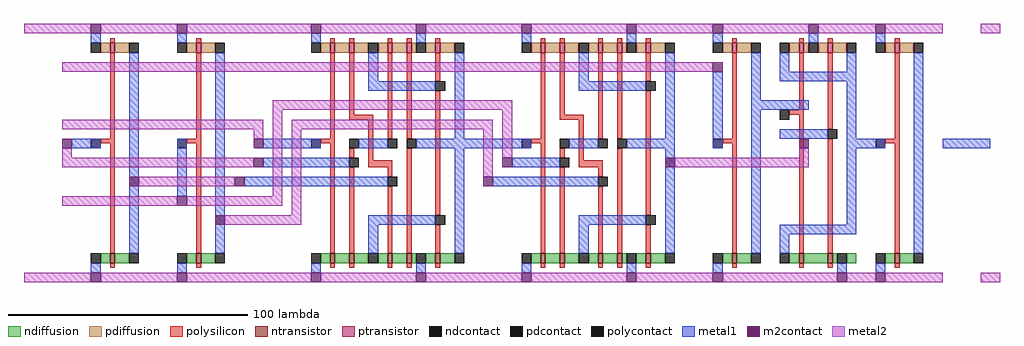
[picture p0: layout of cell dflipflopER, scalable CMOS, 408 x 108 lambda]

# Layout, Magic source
magic
tech scmos
<< metal1 >>
rect 176 56 188 60
rect 220 36 224 60
rect 256 56 280 60
rect 336 56 368 60
rect 444 56 448 88
rect 460 72 484 76
rect 256 48 276 52
rect 360 48 364 52
rect 248 40 292 44
rect 352 40 364 44
<< metal2 >>
rect 156 104 180 108
rect 234 104 268 108
rect 348 104 356 108
rect 556 104 564 108
rect 172 88 444 92
rect 260 72 360 76
rect 172 64 256 68
rect 252 60 256 64
rect 172 52 176 56
rect 172 48 252 52
rect 204 40 244 44
rect 260 36 264 72
rect 172 32 220 36
rect 224 32 264 36
rect 268 64 352 68
rect 268 28 272 64
rect 348 44 352 64
rect 356 52 360 72
rect 480 52 484 56
rect 428 48 484 52
rect 240 24 272 28
rect 156 0 180 4
rect 239 0 271 4
rect 348 0 356 4
rect 556 0 564 4
<< m2contact >>
rect 444 88 448 92
rect 172 56 176 60
rect 200 40 204 44
rect 252 56 256 60
rect 480 56 484 60
rect 252 48 256 52
rect 356 48 360 52
rect 424 48 428 52
rect 244 40 248 44
rect 348 40 352 44
rect 220 32 224 36
rect 236 24 240 28
use 2inAND  2inAND_3
transform 1 0 472 0 1 0
box 0 0 84 108
use inverter  inverter_0
transform 1 0 436 0 1 0
box 0 0 36 108
use inverter  inverter_1
transform 1 0 212 0 1 0
box 0 0 36 108
use inverter  inverter_2
transform 1 0 176 0 1 0
box 0 0 36 108
use latch  latch_0
transform 1 0 268 0 1 0
box 0 0 80 108
use latch  latch_1
transform 1 0 356 0 1 0
box 0 0 80 108
<< end >>

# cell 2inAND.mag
magic
tech scmos
<< polysilicon >>
rect 8 100 10 102
rect 20 100 22 102
rect 8 72 10 96
rect 4 70 10 72
rect 8 12 10 70
rect 20 64 22 96
rect 20 12 22 60
rect 8 6 10 8
rect 20 6 22 8
<< ndiffusion >>
rect 4 8 8 12
rect 10 8 20 12
rect 22 8 24 12
rect 28 8 32 12
<< pdiffusion >>
rect 4 96 8 100
rect 10 96 12 100
rect 16 96 20 100
rect 22 96 28 100
<< metal1 >>
rect 12 100 16 104
rect 0 88 4 96
rect 28 88 32 96
rect 0 84 32 88
rect 0 60 20 64
rect 28 60 32 84
rect 28 56 44 60
rect 68 56 88 60
rect 28 24 32 56
rect 0 20 32 24
rect 0 12 4 20
rect 24 4 28 8
<< metal2 >>
rect 0 104 12 108
rect 16 104 32 108
rect 0 0 24 4
rect 28 0 32 4
<< ntransistor >>
rect 8 8 10 12
rect 20 8 22 12
<< ptransistor >>
rect 8 96 10 100
rect 20 96 22 100
<< polycontact >>
rect 0 68 4 72
rect 20 60 24 64
<< ndcontact >>
rect 0 8 4 12
rect 24 8 28 12
<< pdcontact >>
rect 0 96 4 100
rect 12 96 16 100
rect 28 96 32 100
<< m2contact >>
rect 12 104 16 108
rect 24 0 28 4
use inverter  inverter_0
transform 1 0 32 0 1 0
box 0 0 52 108
<< end >>

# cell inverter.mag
magic
tech scmos
<< polysilicon >>
rect 16 100 18 102
rect 16 60 18 96
rect 12 58 18 60
rect 16 12 18 58
rect 16 6 18 8
<< ndiffusion >>
rect 12 8 16 12
rect 18 8 24 12
<< pdiffusion >>
rect 12 96 16 100
rect 18 96 24 100
<< metal1 >>
rect 8 100 12 104
rect 24 12 28 96
rect 8 4 12 8
<< metal2 >>
rect 0 104 8 108
rect 12 104 36 108
rect 0 0 8 4
rect 12 0 36 4
<< ntransistor >>
rect 16 8 18 12
<< ptransistor >>
rect 16 96 18 100
<< polycontact >>
rect 8 56 12 60
<< ndcontact >>
rect 8 8 12 12
rect 24 8 28 12
<< pdcontact >>
rect 8 96 12 100
rect 24 96 28 100
<< m2contact >>
rect 8 104 12 108
rect 8 0 12 4
<< end >>

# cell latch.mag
magic
tech scmos
<< polysilicon >>
rect 16 100 18 102
rect 24 100 26 102
rect 40 100 42 102
rect 48 100 50 102
rect 60 100 62 102
rect 16 60 18 96
rect 24 70 26 96
rect 24 68 34 70
rect 12 58 18 60
rect 16 12 18 58
rect 24 52 26 56
rect 32 51 34 68
rect 40 60 42 96
rect 48 60 50 96
rect 60 84 62 96
rect 32 48 42 51
rect 24 12 26 48
rect 40 44 42 48
rect 40 12 42 40
rect 48 12 50 56
rect 60 28 62 80
rect 60 12 62 24
rect 16 6 18 8
rect 24 6 26 8
rect 40 6 42 8
rect 48 6 50 8
rect 60 6 62 8
<< ndiffusion >>
rect 12 8 16 12
rect 18 8 24 12
rect 26 8 32 12
rect 36 8 40 12
rect 42 8 48 12
rect 50 8 52 12
rect 56 8 60 12
rect 62 8 68 12
<< pdiffusion >>
rect 12 96 16 100
rect 18 96 24 100
rect 26 96 32 100
rect 36 96 40 100
rect 42 96 48 100
rect 50 96 52 100
rect 56 96 60 100
rect 62 96 68 100
<< metal1 >>
rect 8 100 12 104
rect 52 100 56 104
rect 32 84 36 96
rect 32 80 60 84
rect 68 60 72 96
rect 28 56 40 60
rect 52 56 72 60
rect 8 48 24 52
rect 8 40 40 44
rect 32 24 60 28
rect 32 12 36 24
rect 68 12 72 56
rect 8 4 12 8
rect 52 4 56 8
<< metal2 >>
rect 0 104 8 108
rect 12 104 52 108
rect 56 104 80 108
rect 0 0 8 4
rect 12 0 52 4
rect 56 0 80 4
<< ntransistor >>
rect 16 8 18 12
rect 24 8 26 12
rect 40 8 42 12
rect 48 8 50 12
rect 60 8 62 12
<< ptransistor >>
rect 16 96 18 100
rect 24 96 26 100
rect 40 96 42 100
rect 48 96 50 100
rect 60 96 62 100
<< polycontact >>
rect 8 56 12 60
rect 24 56 28 60
rect 24 48 28 52
rect 60 80 64 84
rect 40 56 44 60
rect 48 56 52 60
rect 40 40 44 44
rect 60 24 64 28
<< ndcontact >>
rect 8 8 12 12
rect 32 8 36 12
rect 52 8 56 12
rect 68 8 72 12
<< pdcontact >>
rect 8 96 12 100
rect 32 96 36 100
rect 52 96 56 100
rect 68 96 72 100
<< m2contact >>
rect 8 104 12 108
rect 52 104 56 108
rect 8 0 12 4
rect 52 0 56 4
<< end >>
